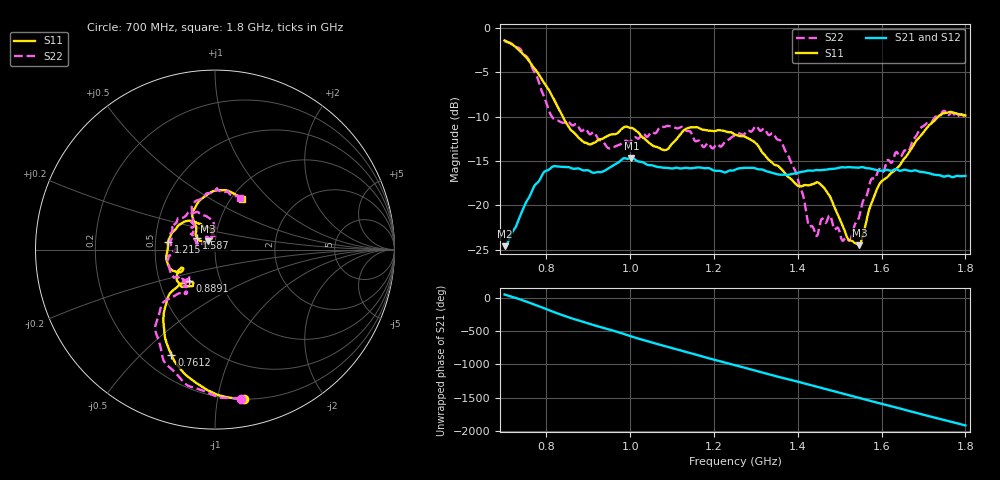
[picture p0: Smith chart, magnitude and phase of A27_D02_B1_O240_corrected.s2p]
! Created with skrf 1.9.0 (http://scikit-rf.org).
# Hz S RI R 50.0
!freq ReS11 ImS11 ReS21 ImS21 ReS12 ImS12 ReS22 ImS22
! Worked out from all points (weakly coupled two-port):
!   1601 points, 700 MHz to 1.8 GHz, reference 50 ohm
!   highest |S21| = -14.64 dB at 1.002 GHz (marker M1); lowest = -24.6 dB at 700.7 MHz (marker M2)
!   lowest |S11| = -24.5 dB at 1.547 GHz (marker M3), VSWR 1.13, Z = 46.1 + j4.22 ohm
!   |S11| at or under -10 dB: 838.9 MHz to 1.735 GHz (895.9 MHz wide, 69.6 % of centre)
!   |S22| runs from -24.0 to -1.5 dB; largest |S21 - S12| = 0.0034
!   S11 on the Smith chart (normalised r, x): 700 MHz: 0.20, -1.19; 761.2 MHz: 0.32, -0.62; 889.1 MHz: 0.71, -0.26; 1.215 GHz: 0.58, +0.05; 1.587 GHz: 0.81, +0.11; 1.8 GHz: 1.12, +0.71
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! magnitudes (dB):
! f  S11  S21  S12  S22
! 700 MHz  -1.4  -24.6  -24.4  -1.5
! 700.7 MHz  -1.4  -24.6  -24.3  -1.5
! 761.2 MHz  -3.9  -18.8  -18.7  -3.9
! 814.1 MHz  -7.7  -15.6  -15.7  -10.1
! 883.6 MHz  -12.7  -16.0  -15.9  -11.6
! 889.1 MHz  -12.9  -16.1  -16.0  -11.4
! 949.6 MHz  -12.1  -15.8  -15.8  -13.6
! 1.002 GHz  -11.3  -14.6  -14.7  -12.7
! 1.067 GHz  -13.5  -15.7  -15.6  -11.4
! 1.139 GHz  -11.3  -15.8  -15.8  -11.6
! 1.215 GHz  -11.5  -16.1  -16.1  -13.4
! 1.25 GHz  -12.0  -16.0  -15.9  -12.1
! 1.301 GHz  -13.0  -15.9  -15.8  -11.1
! 1.359 GHz  -15.8  -16.5  -16.5  -12.7
! 1.434 GHz  -17.6  -16.1  -16.1  -22.3
! 1.476 GHz  -18.9  -15.9  -15.9  -21.1
! 1.522 GHz  -23.9  -15.7  -15.7  -24.0
! 1.547 GHz  -24.5  -15.7  -15.7  -21.2
! 1.587 GHz  -18.4  -16.0  -16.0  -16.7
! 1.617 GHz  -16.6  -16.0  -16.0  -14.9
! 1.738 GHz  -9.9  -16.6  -16.6  -10.0
! 1.8 GHz  -9.9  -16.7  -16.7  -10.0
